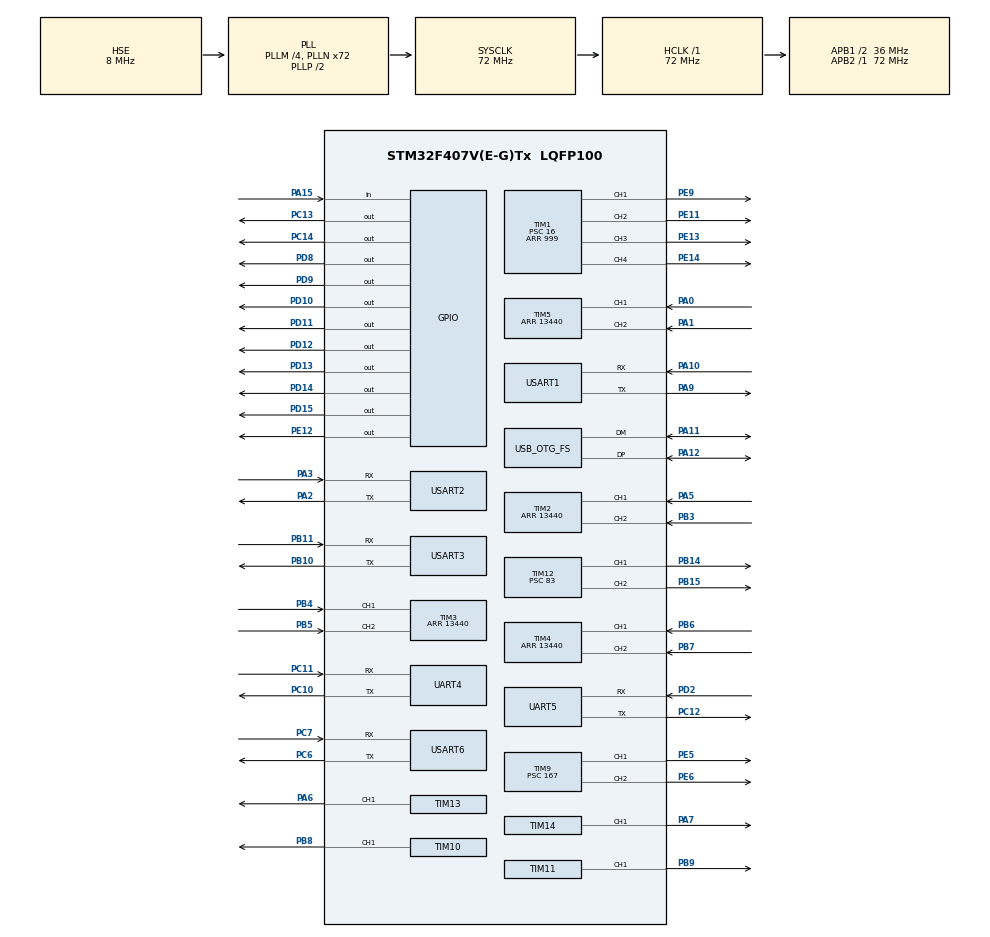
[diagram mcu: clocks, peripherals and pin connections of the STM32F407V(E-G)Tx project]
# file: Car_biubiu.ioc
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Dma.Request0=USART1_RX
Dma.Request1=USART1_TX
Dma.Request10=UART5_TX
Dma.Request2=USART2_RX
Dma.Request3=USART6_RX
Dma.Request4=USART3_RX
Dma.Request5=USART3_TX
Dma.Request6=USART6_TX
Dma.Request7=UART4_RX
Dma.Request8=UART5_RX
Dma.Request9=UART4_TX
Dma.UART4_RX.7.Direction=DMA_PERIPH_TO_MEMORY
Dma.UART4_RX.7.FIFOMode=DMA_FIFOMODE_DISABLE
Dma.UART4_RX.7.Instance=DMA1_Stream2
Dma.UART4_RX.7.MemDataAlignment=DMA_MDATAALIGN_BYTE
Dma.UART4_RX.7.MemInc=DMA_MINC_ENABLE
Dma.UART4_RX.7.Mode=DMA_NORMAL
Dma.UART4_RX.7.PeriphDataAlignment=DMA_PDATAALIGN_BYTE
Dma.UART4_RX.7.PeriphInc=DMA_PINC_DISABLE
Dma.UART4_RX.7.Priority=DMA_PRIORITY_LOW
Dma.UART4_TX.9.Direction=DMA_MEMORY_TO_PERIPH
Dma.UART4_TX.9.FIFOMode=DMA_FIFOMODE_DISABLE
Dma.UART4_TX.9.Instance=DMA1_Stream4
Dma.UART4_TX.9.MemDataAlignment=DMA_MDATAALIGN_BYTE
Dma.UART4_TX.9.MemInc=DMA_MINC_ENABLE
Dma.UART4_TX.9.Mode=DMA_NORMAL
Dma.UART4_TX.9.PeriphDataAlignment=DMA_PDATAALIGN_BYTE
Dma.UART4_TX.9.PeriphInc=DMA_PINC_DISABLE
Dma.UART4_TX.9.Priority=DMA_PRIORITY_LOW
Dma.UART5_RX.8.Direction=DMA_PERIPH_TO_MEMORY
Dma.UART5_RX.8.FIFOMode=DMA_FIFOMODE_DISABLE
Dma.UART5_RX.8.Instance=DMA1_Stream0
Dma.UART5_RX.8.MemDataAlignment=DMA_MDATAALIGN_BYTE
Dma.UART5_RX.8.MemInc=DMA_MINC_ENABLE
Dma.UART5_RX.8.Mode=DMA_NORMAL
Dma.UART5_RX.8.PeriphDataAlignment=DMA_PDATAALIGN_BYTE
Dma.UART5_RX.8.PeriphInc=DMA_PINC_DISABLE
Dma.UART5_RX.8.Priority=DMA_PRIORITY_LOW
Dma.UART5_TX.10.Direction=DMA_MEMORY_TO_PERIPH
Dma.UART5_TX.10.FIFOMode=DMA_FIFOMODE_DISABLE
Dma.UART5_TX.10.Instance=DMA1_Stream7
Dma.UART5_TX.10.MemDataAlignment=DMA_MDATAALIGN_BYTE
Dma.UART5_TX.10.MemInc=DMA_MINC_ENABLE
Dma.UART5_TX.10.Mode=DMA_NORMAL
Dma.UART5_TX.10.PeriphDataAlignment=DMA_PDATAALIGN_BYTE
Dma.UART5_TX.10.PeriphInc=DMA_PINC_DISABLE
Dma.UART5_TX.10.Priority=DMA_PRIORITY_LOW
Dma.USART1_RX.0.Direction=DMA_PERIPH_TO_MEMORY
Dma.USART1_RX.0.FIFOMode=DMA_FIFOMODE_DISABLE
Dma.USART1_RX.0.Instance=DMA2_Stream2
Dma.USART1_RX.0.MemDataAlignment=DMA_MDATAALIGN_BYTE
Dma.USART1_RX.0.MemInc=DMA_MINC_ENABLE
Dma.USART1_RX.0.Mode=DMA_NORMAL
Dma.USART1_RX.0.PeriphDataAlignment=DMA_PDATAALIGN_BYTE
Dma.USART1_RX.0.PeriphInc=DMA_PINC_DISABLE
Dma.USART1_RX.0.Priority=DMA_PRIORITY_MEDIUM
Dma.USART1_TX.1.Direction=DMA_MEMORY_TO_PERIPH
Dma.USART1_TX.1.FIFOMode=DMA_FIFOMODE_DISABLE
Dma.USART1_TX.1.Instance=DMA2_Stream7
Dma.USART1_TX.1.MemDataAlignment=DMA_MDATAALIGN_BYTE
Dma.USART1_TX.1.MemInc=DMA_MINC_ENABLE
Dma.USART1_TX.1.Mode=DMA_NORMAL
Dma.USART1_TX.1.PeriphDataAlignment=DMA_PDATAALIGN_BYTE
Dma.USART1_TX.1.PeriphInc=DMA_PINC_DISABLE
Dma.USART1_TX.1.Priority=DMA_PRIORITY_MEDIUM
Dma.USART2_RX.2.Direction=DMA_PERIPH_TO_MEMORY
Dma.USART2_RX.2.FIFOMode=DMA_FIFOMODE_DISABLE
Dma.USART2_RX.2.Instance=DMA1_Stream5
Dma.USART2_RX.2.MemDataAlignment=DMA_MDATAALIGN_BYTE
Dma.USART2_RX.2.MemInc=DMA_MINC_ENABLE
Dma.USART2_RX.2.Mode=DMA_NORMAL
Dma.USART2_RX.2.PeriphDataAlignment=DMA_PDATAALIGN_BYTE
Dma.USART2_RX.2.PeriphInc=DMA_PINC_DISABLE
Dma.USART2_RX.2.Priority=DMA_PRIORITY_MEDIUM
Dma.USART3_RX.4.Direction=DMA_PERIPH_TO_MEMORY
Dma.USART3_RX.4.FIFOMode=DMA_FIFOMODE_DISABLE
Dma.USART3_RX.4.Instance=DMA1_Stream1
Dma.USART3_RX.4.MemDataAlignment=DMA_MDATAALIGN_BYTE
Dma.USART3_RX.4.MemInc=DMA_MINC_ENABLE
Dma.USART3_RX.4.Mode=DMA_NORMAL
Dma.USART3_RX.4.PeriphDataAlignment=DMA_PDATAALIGN_BYTE
Dma.USART3_RX.4.PeriphInc=DMA_PINC_DISABLE
Dma.USART3_RX.4.Priority=DMA_PRIORITY_LOW
Dma.USART3_TX.5.Direction=DMA_MEMORY_TO_PERIPH
Dma.USART3_TX.5.FIFOMode=DMA_FIFOMODE_DISABLE
Dma.USART3_TX.5.Instance=DMA1_Stream3
Dma.USART3_TX.5.MemDataAlignment=DMA_MDATAALIGN_BYTE
Dma.USART3_TX.5.MemInc=DMA_MINC_ENABLE
Dma.USART3_TX.5.Mode=DMA_NORMAL
Dma.USART3_TX.5.PeriphDataAlignment=DMA_PDATAALIGN_BYTE
Dma.USART3_TX.5.PeriphInc=DMA_PINC_DISABLE
Dma.USART3_TX.5.Priority=DMA_PRIORITY_LOW
Dma.USART6_RX.3.Direction=DMA_PERIPH_TO_MEMORY
Dma.USART6_RX.3.FIFOMode=DMA_FIFOMODE_DISABLE
Dma.USART6_RX.3.Instance=DMA2_Stream1
Dma.USART6_RX.3.MemDataAlignment=DMA_MDATAALIGN_BYTE
Dma.USART6_RX.3.MemInc=DMA_MINC_ENABLE
Dma.USART6_RX.3.Mode=DMA_NORMAL
Dma.USART6_RX.3.PeriphDataAlignment=DMA_PDATAALIGN_BYTE
Dma.USART6_RX.3.PeriphInc=DMA_PINC_DISABLE
Dma.USART6_RX.3.Priority=DMA_PRIORITY_LOW
Dma.USART6_TX.6.Direction=DMA_MEMORY_TO_PERIPH
Dma.USART6_TX.6.FIFOMode=DMA_FIFOMODE_DISABLE
Dma.USART6_TX.6.Instance=DMA2_Stream6
Dma.USART6_TX.6.MemDataAlignment=DMA_MDATAALIGN_BYTE
Dma.USART6_TX.6.MemInc=DMA_MINC_ENABLE
Dma.USART6_TX.6.Mode=DMA_NORMAL
Dma.USART6_TX.6.PeriphDataAlignment=DMA_PDATAALIGN_BYTE
Dma.USART6_TX.6.PeriphInc=DMA_PINC_DISABLE
Dma.USART6_TX.6.Priority=DMA_PRIORITY_LOW
FREERTOS.Tasks01=defaultTask,-3,128,StartDefaultTask,Default,NULL,Dynamic,NULL,NULL;myTask_key,1,128,key_Task,Default,NULL,Dynamic,NULL,NULL;myTask_Display,-3,256,Display_Task,Default,NULL,Dynamic,NULL,NULL;myTask_IMU,0,256,IMU_Task,Default,NULL,Dynamic,NULL,NULL;myTask_debug,-2,512,deubg_Task,Default,NULL,Dynamic,NULL,NULL;myTask_motor,1,256,motor_Task,Default,NULL,Dynamic,NULL,NULL;myTask_usart,0,512,usart_Task,Default,NULL,Dynamic,NULL,NULL;myTask_servo,1,256,servo_Task,Default,NULL,Dynamic,NULL,NULL;myTask_speed,2,256,speed_Task,Default,NULL,Dynamic,NULL,NULL;myTask_pid,2,512,pid_Task,Default,NULL,Dynamic,NULL,NULL;myTask_doing,2,512,doing_Task,Default,NULL,Dynamic,NULL,NULL
FREERTOS.configTOTAL_HEAP_SIZE=65535
Mcu.Family=STM32F4
Mcu.Name=STM32F407V(E-G)Tx
Mcu.Package=LQFP100
NVIC.DMA1_Stream0_IRQn=true\:5\:0\:false\:false\:true\:true\:false\:true\:true
NVIC.DMA1_Stream1_IRQn=true\:5\:0\:false\:false\:true\:true\:false\:true\:true
NVIC.DMA1_Stream2_IRQn=true\:5\:0\:false\:false\:true\:true\:false\:true\:true
NVIC.DMA1_Stream3_IRQn=true\:5\:0\:false\:false\:true\:true\:false\:true\:true
NVIC.DMA1_Stream4_IRQn=true\:5\:0\:false\:false\:true\:true\:false\:true\:true
NVIC.DMA1_Stream5_IRQn=true\:5\:0\:true\:false\:true\:true\:false\:true\:true
NVIC.DMA1_Stream7_IRQn=true\:5\:0\:false\:false\:true\:true\:false\:true\:true
NVIC.DMA2_Stream1_IRQn=true\:5\:0\:false\:false\:true\:true\:false\:true\:true
NVIC.DMA2_Stream2_IRQn=true\:5\:0\:false\:false\:true\:true\:false\:true\:true
NVIC.DMA2_Stream6_IRQn=true\:5\:0\:false\:false\:true\:true\:false\:true\:true
NVIC.DMA2_Stream7_IRQn=true\:5\:0\:false\:false\:true\:true\:false\:true\:true
NVIC.OTG_FS_IRQn=true\:5\:0\:false\:false\:true\:true\:true\:true\:true
NVIC.PriorityGroup=NVIC_PRIORITYGROUP_4
NVIC.TIM2_IRQn=true\:5\:0\:false\:false\:true\:true\:true\:true\:true
NVIC.TIM3_IRQn=true\:5\:0\:false\:false\:true\:true\:true\:true\:true
NVIC.TIM4_IRQn=true\:5\:0\:false\:false\:true\:true\:true\:true\:true
NVIC.TIM5_IRQn=true\:5\:0\:false\:false\:true\:true\:true\:true\:true
NVIC.TIM6_DAC_IRQn=true\:5\:0\:false\:false\:true\:true\:true\:true\:true
NVIC.TIM7_IRQn=true\:0\:0\:false\:false\:true\:false\:false\:true\:true
NVIC.TimeBase=TIM7_IRQn
NVIC.TimeBaseIP=TIM7
NVIC.UART4_IRQn=true\:5\:0\:false\:false\:true\:true\:true\:true\:true
NVIC.UART5_IRQn=true\:5\:0\:false\:false\:true\:true\:true\:true\:true
NVIC.USART1_IRQn=true\:5\:0\:true\:false\:true\:true\:true\:true\:true
NVIC.USART2_IRQn=true\:5\:0\:true\:false\:true\:true\:true\:true\:true
NVIC.USART3_IRQn=true\:5\:0\:false\:false\:true\:true\:true\:true\:true
NVIC.USART6_IRQn=true\:5\:0\:false\:false\:true\:true\:true\:true\:true
PA0-WKUP.Signal=S_TIM5_CH1
PA1.Signal=S_TIM5_CH2
PA10.Mode=Asynchronous
PA10.Signal=USART1_RX
PA11.Mode=Device_Only
PA11.Signal=USB_OTG_FS_DM
PA12.Mode=Device_Only
PA12.Signal=USB_OTG_FS_DP
PA13.Mode=Serial_Wire
PA13.Signal=SYS_JTMS-SWDIO
PA14.Mode=Serial_Wire
PA14.Signal=SYS_JTCK-SWCLK
PA15.GPIO_PuPd=GPIO_PULLUP
PA15.Signal=GPIO_Input
PA2.Mode=Asynchronous
PA2.Signal=USART2_TX
PA3.Mode=Asynchronous
PA3.Signal=USART2_RX
PA5.Signal=S_TIM2_CH1_ETR
PA6.Signal=S_TIM13_CH1
PA7.Signal=S_TIM14_CH1
PA9.Mode=Asynchronous
PA9.Signal=USART1_TX
PB10.Mode=Asynchronous
PB10.Signal=USART3_TX
PB11.Mode=Asynchronous
PB11.Signal=USART3_RX
PB14.Signal=S_TIM12_CH1
PB15.Signal=S_TIM12_CH2
PB3.Signal=S_TIM2_CH2
PB4.Signal=S_TIM3_CH1
PB5.Signal=S_TIM3_CH2
PB6.Signal=S_TIM4_CH1
PB7.Signal=S_TIM4_CH2
PB8.Signal=S_TIM10_CH1
PB9.Signal=S_TIM11_CH1
PC10.Mode=Asynchronous
PC10.Signal=UART4_TX
PC11.Mode=Asynchronous
PC11.Signal=UART4_RX
PC12.Mode=Asynchronous
PC12.Signal=UART5_TX
PC13-ANTI_TAMP.GPIO_Speed=GPIO_SPEED_FREQ_LOW
PC13-ANTI_TAMP.Signal=GPIO_Output
PC14-OSC32_IN.Signal=GPIO_Output
PC6.Mode=Asynchronous
PC6.Signal=USART6_TX
PC7.Mode=Asynchronous
PC7.Signal=USART6_RX
PD10.Signal=GPIO_Output
PD11.Signal=GPIO_Output
PD12.Signal=GPIO_Output
PD13.Signal=GPIO_Output
PD14.Signal=GPIO_Output
PD15.Signal=GPIO_Output
PD2.Mode=Asynchronous
PD2.Signal=UART5_RX
PD8.Signal=GPIO_Output
PD9.Signal=GPIO_Output
PE11.Signal=S_TIM1_CH2
PE12.Signal=GPIO_Output
PE13.Signal=S_TIM1_CH3
PE14.Signal=S_TIM1_CH4
PE5.Signal=S_TIM9_CH1
PE6.Signal=S_TIM9_CH2
PE9.Signal=S_TIM1_CH1
PH0-OSC_IN.Mode=HSE-External-Oscillator
PH0-OSC_IN.Signal=RCC_OSC_IN
PH1-OSC_OUT.Mode=HSE-External-Oscillator
PH1-OSC_OUT.Signal=RCC_OSC_OUT
ProjectManager.HeapSize=0x8000
ProjectManager.StackSize=0x1000
ProjectManager.TargetToolchain=MDK-ARM V5.27
RCC.48MHZClocksFreq_Value=48000000
RCC.AHBFreq_Value=72000000
RCC.APB1CLKDivider=RCC_HCLK_DIV2
RCC.APB1Freq_Value=36000000
RCC.APB1TimFreq_Value=72000000
RCC.APB2Freq_Value=72000000
RCC.APB2TimFreq_Value=72000000
RCC.CortexFreq_Value=72000000
RCC.HCLKFreq_Value=72000000
RCC.HSE_VALUE=8000000
RCC.HSI_VALUE=16000000
RCC.LSE_VALUE=32768
RCC.PLLM=4
RCC.PLLN=72
RCC.PLLQ=3
RCC.SYSCLKFreq_VALUE=72000000
RCC.SYSCLKSource=RCC_SYSCLKSOURCE_PLLCLK
RCC.VCOOutputFreq_Value=144000000
SH.S_TIM10_CH1.0=TIM10_CH1,PWM Generation1 CH1
SH.S_TIM11_CH1.0=TIM11_CH1,PWM Generation1 CH1
SH.S_TIM12_CH1.0=TIM12_CH1,PWM Generation1 CH1
SH.S_TIM12_CH2.0=TIM12_CH2,PWM Generation2 CH2
SH.S_TIM13_CH1.0=TIM13_CH1,PWM Generation1 CH1
SH.S_TIM14_CH1.0=TIM14_CH1,PWM Generation1 CH1
SH.S_TIM1_CH1.0=TIM1_CH1,PWM Generation1 CH1
SH.S_TIM1_CH2.0=TIM1_CH2,PWM Generation2 CH2
SH.S_TIM1_CH3.0=TIM1_CH3,PWM Generation3 CH3
SH.S_TIM1_CH4.0=TIM1_CH4,PWM Generation4 CH4
SH.S_TIM2_CH1_ETR.0=TIM2_CH1,Encoder_Interface
SH.S_TIM2_CH2.0=TIM2_CH2,Encoder_Interface
SH.S_TIM3_CH1.0=TIM3_CH1,Encoder_Interface
SH.S_TIM3_CH2.0=TIM3_CH2,Encoder_Interface
SH.S_TIM4_CH1.0=TIM4_CH1,Encoder_Interface
SH.S_TIM4_CH2.0=TIM4_CH2,Encoder_Interface
SH.S_TIM5_CH1.0=TIM5_CH1,Encoder_Interface
SH.S_TIM5_CH2.0=TIM5_CH2,Encoder_Interface
SH.S_TIM9_CH1.0=TIM9_CH1,PWM Generation1 CH1
SH.S_TIM9_CH2.0=TIM9_CH2,PWM Generation2 CH2
TIM1.Channel-PWM\ Generation1\ CH1=TIM_CHANNEL_1
TIM1.Channel-PWM\ Generation2\ CH2=TIM_CHANNEL_2
TIM1.Channel-PWM\ Generation3\ CH3=TIM_CHANNEL_3
TIM1.Channel-PWM\ Generation4\ CH4=TIM_CHANNEL_4
TIM1.Period=999
TIM1.Prescaler=16
TIM10.Channel=TIM_CHANNEL_1
TIM10.Period=19999
TIM10.Prescaler=167
TIM11.Channel=TIM_CHANNEL_1
TIM11.Period=19999
TIM11.Prescaler=167
TIM12.Channel-PWM\ Generation1\ CH1=TIM_CHANNEL_1
TIM12.Channel-PWM\ Generation2\ CH2=TIM_CHANNEL_2
TIM12.Period=19999
TIM12.Prescaler=83
TIM13.Channel=TIM_CHANNEL_1
TIM13.Period=999
TIM13.Prescaler=1679
TIM14.Channel=TIM_CHANNEL_1
TIM14.Period=999
TIM14.Prescaler=1679
TIM2.EncoderMode=TIM_ENCODERMODE_TI12
TIM2.Period=13440
TIM3.EncoderMode=TIM_ENCODERMODE_TI12
TIM3.Period=13440
TIM4.EncoderMode=TIM_ENCODERMODE_TI12
TIM4.Period=13440
TIM5.EncoderMode=TIM_ENCODERMODE_TI12
TIM5.Period=13440
TIM6.Period=9999
TIM6.Prescaler=83
TIM9.Channel-PWM\ Generation1\ CH1=TIM_CHANNEL_1
TIM9.Channel-PWM\ Generation2\ CH2=TIM_CHANNEL_2
TIM9.Period=19999
TIM9.Prescaler=167
UART4.VirtualMode=Asynchronous
UART5.VirtualMode=Asynchronous
USART1.VirtualMode=VM_ASYNC
USART2.VirtualMode=VM_ASYNC
USART3.VirtualMode=VM_ASYNC
USART6.VirtualMode=VM_ASYNC
USB_DEVICE.CLASS_NAME_FS=CDC
USB_DEVICE.VirtualMode-CDC_FS=Cdc
USB_DEVICE.VirtualModeFS=Cdc_FS
USB_OTG_FS.VirtualMode=Device_Only
VP_FREERTOS_VS_CMSIS_V1.Mode=CMSIS_V1
VP_SYS_VS_tim7.Mode=TIM7
VP_TIM10_VS_ClockSourceINT.Mode=Enable_Timer
VP_TIM11_VS_ClockSourceINT.Mode=Enable_Timer
VP_TIM13_VS_ClockSourceINT.Mode=Enable_Timer
VP_TIM14_VS_ClockSourceINT.Mode=Enable_Timer
VP_TIM6_VS_ClockSourceINT.Mode=Enable_Timer
VP_USB_DEVICE_VS_USB_DEVICE_CDC_FS.Mode=CDC_FS
board=custom

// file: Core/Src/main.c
/* USER CODE BEGIN Header */
/**
  ******************************************************************************
  * @file           : main.c
  * @brief          : Main program body
  ******************************************************************************
  * @attention

  ******************************************************************************
  */
/* USER CODE END Header */
#include "main.h"
#include "cmsis_os.h"
#include "dma.h"
#include "tim.h"
#include "usart.h"
#include "usb_device.h"
#include "gpio.h"

/* USER CODE BEGIN Includes */
#include "JY61.h"
#include "motor_ctrl.h"
#include "servo.h"
/* USER CODE END Includes */

void SystemClock_Config(void);
void MX_FREERTOS_Init(void);

int main(void)
{

  /* MCU Configuration--------------------------------------------------------*/

  /* Reset of all peripherals, Initializes the Flash interface and the Systick. */
  HAL_Init();

  /* Configure the system clock */
  SystemClock_Config();

  /* Initialize all configured peripherals */
  MX_GPIO_Init();
  MX_DMA_Init();
  MX_USART1_UART_Init();
  MX_USART2_UART_Init();
  MX_TIM1_Init();
  MX_TIM2_Init();
  MX_TIM3_Init();
  MX_TIM4_Init();
  MX_TIM5_Init();
  MX_TIM6_Init();
  MX_TIM9_Init();
  MX_TIM10_Init();
  MX_TIM11_Init();
  MX_TIM12_Init();
  MX_TIM13_Init();
  MX_TIM14_Init();
  MX_UART4_Init();
  MX_UART5_Init();
  MX_USART3_UART_Init();
  MX_USART6_UART_Init();
  /* USER CODE BEGIN 2 */
  motor_tim_config(); // 电机PWM初始化、编码器定时器初始化

  servo_config(); // 舵机PWM初始化
  // 电机速度控制为0
    speed_ctrl(Motor1, 0);
    speed_ctrl(Motor2, 0);
    speed_ctrl(Motor3, 0);
    speed_ctrl(Motor4, 0);

  printf("BSP初始化OK\n");
  // MPU6050初始化。
  WitInit(WIT_PROTOCOL_NORMAL, 0x50);
  WitSerialWriteRegister(SensorUartSend);
  WitRegisterCallBack(SensorDataUpdata);
  WitDelayMsRegister(Delayms);
  uint8_t i=0;

  HAL_Delay(1000);

  HAL_TIM_Base_Start_IT(&htim6); // 基础定时器初始化

  /* USER CODE END 2 */

  /* Call init function for freertos objects (in freertos.c) */
  MX_FREERTOS_Init();

  /* Start scheduler */
  osKernelStart();

  /* We should never get here as control is now taken by the scheduler */
  /* Infinite loop */
  while (1)
  {

  }
}

void SystemClock_Config(void)
{
  RCC_OscInitTypeDef RCC_OscInitStruct = {0};
  RCC_ClkInitTypeDef RCC_ClkInitStruct = {0};

  /** Configure the main internal regulator output voltage
  */
  __HAL_RCC_PWR_CLK_ENABLE();
  __HAL_PWR_VOLTAGESCALING_CONFIG(PWR_REGULATOR_VOLTAGE_SCALE1);

  /** Initializes the RCC Oscillators according to the specified parameters
  * in the RCC_OscInitTypeDef structure.
  */
  RCC_OscInitStruct.OscillatorType = RCC_OSCILLATORTYPE_HSE;
  RCC_OscInitStruct.HSEState = RCC_HSE_ON;
  RCC_OscInitStruct.PLL.PLLState = RCC_PLL_ON;
  RCC_OscInitStruct.PLL.PLLSource = RCC_PLLSOURCE_HSE;
  RCC_OscInitStruct.PLL.PLLM = 4;
  RCC_OscInitStruct.PLL.PLLN = 72;
  RCC_OscInitStruct.PLL.PLLP = RCC_PLLP_DIV2;
  RCC_OscInitStruct.PLL.PLLQ = 3;
  if (HAL_RCC_OscConfig(&RCC_OscInitStruct) != HAL_OK)
  {
    Error_Handler();
  }

  /** Initializes the CPU, AHB and APB buses clocks
  */
  RCC_ClkInitStruct.ClockType = RCC_CLOCKTYPE_HCLK|RCC_CLOCKTYPE_SYSCLK
                              |RCC_CLOCKTYPE_PCLK1|RCC_CLOCKTYPE_PCLK2;
  RCC_ClkInitStruct.SYSCLKSource = RCC_SYSCLKSOURCE_PLLCLK;
  RCC_ClkInitStruct.AHBCLKDivider = RCC_SYSCLK_DIV1;
  RCC_ClkInitStruct.APB1CLKDivider = RCC_HCLK_DIV2;
  RCC_ClkInitStruct.APB2CLKDivider = RCC_HCLK_DIV1;

  if (HAL_RCC_ClockConfig(&RCC_ClkInitStruct, FLASH_LATENCY_2) != HAL_OK)
  {
    Error_Handler();
  }
}

void HAL_TIM_PeriodElapsedCallback(TIM_HandleTypeDef *htim)
{
  if (htim->Instance == TIM7) {
    HAL_IncTick();
  }
  /* USER CODE BEGIN Callback 1 */
  if (htim->Instance == TIM6)
  {

//    speed_get();

  }
  /* USER CODE END Callback 1 */
}

void Error_Handler(void)
{
  __disable_irq();
  while (1)
  {
  }
}

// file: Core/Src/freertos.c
/* USER CODE BEGIN Header */
/**
 ******************************************************************************
 * File Name          : freertos.c
 * Description        : Code for freertos applications
 ******************************************************************************
 * @attention
 *
 * <h2><center>&copy; Copyright (c) 2023 STMicroelectronics.
 * All rights reserved.</center></h2>
 *
 * This software component is licensed by ST under Ultimate Liberty license
 * SLA0044, the "License"; You may not use this file except in compliance with
 * the License. You may obtain a copy of the License at:
 *                             www.st.com/SLA0044
 *
 ******************************************************************************
 */
/* USER CODE END Header */

#include "FreeRTOS.h"
#include "task.h"
#include "main.h"
#include "cmsis_os.h"

/* USER CODE BEGIN Includes */
#include "soft_user.h"
#include "string.h"
#include "JY61.h"
#include "servo.h"
#include "dma.h"
#include "tim.h"
#include "usart.h"
#include "gpio.h"
#include "motor_ctrl.h"
#include "pid.h"
#include "HI229.h"

#include "usbd_cdc_if.h"
#include "usb_user.h"
/* USER CODE END Includes */

/* USER CODE BEGIN PD */
#define Led_Toggle GPIOC->ODR ^= GPIO_PIN_13 // LED_Toggle函数宏定义
#define IMU_speed 80                         // IMU数据采集处理频率控制参数
#define JY61

/* USER CODE END PD */

/* USER CODE BEGIN PM */

extern char s_cDataUpdate, s_cCmd; // MPU6050移植参数，不用管

extern servo_status servo_motion[];

uint8_t OS_status = 0;             // 任务初始化标志位，为1则初始化OK，为0则还没有嘞

uint8_t debug_date[600] = {0};     // debug数据缓存区，用于缓存需要用来上传的debug数据。

uint8_t IMU_date[IMU_speed] = {0}; // MPU6050数据缓冲区、采用DMA+串口方式接收

uint8_t usart_3_date[25] = {0};
uint8_t usart_6_date[25] = {0};

raw_t raw = {0};             /* IMU stram read/control struct */
uint8_t decode_succ;         /* 0: no new frame arrived, 1: new frame arrived */

/* USER CODE END PM */

/* USER CODE BEGIN Variables */
SemaphoreHandle_t IMUdate_RX_Sem_Handle = NULL; // 信号量初始化，用于作为IMU数据接收完成后的回响，开启IMU_TASK函数的执行。

SemaphoreHandle_t usart3_RX_Sem_Handle = NULL;

SemaphoreHandle_t usart6_RX_Sem_Handle = NULL;

SemaphoreHandle_t Servo_Sem_Handle = NULL;

QueueHandle_t   Speed_Queue =NULL;
QueueHandle_t   goal_Queue =NULL;
QueueHandle_t   IMU_Queue =NULL;
QueueHandle_t   debug_Queue =NULL;
QueueHandle_t   angle_Queue =NULL;
QueueHandle_t   servo_Queue =NULL;
QueueHandle_t   distance_Queue =NULL;
QueueHandle_t   color_Queue =NULL;
QueueHandle_t   black_line_Queue =NULL;
/* USER CODE END Variables */
osThreadId defaultTaskHandle;
osThreadId myTask_keyHandle;
osThreadId myTask_DisplayHandle;
osThreadId myTask_IMUHandle;
osThreadId myTask_debugHandle;
osThreadId myTask_motorHandle;
osThreadId myTask_usartHandle;
osThreadId myTask_servoHandle;
osThreadId myTask_speedHandle;
osThreadId myTask_pidHandle;
osThreadId myTask_doingHandle;

void StartDefaultTask(void const * argument);
void key_Task(void const * argument);
void Display_Task(void const * argument);
void IMU_Task(void const * argument);
void deubg_Task(void const * argument);
void motor_Task(void const * argument);
void usart_Task(void const * argument);
void servo_Task(void const * argument);
void speed_Task(void const * argument);
void pid_Task(void const * argument);
void doing_Task(void const * argument);

extern void MX_USB_DEVICE_Init(void);
void MX_FREERTOS_Init(void); /* (MISRA C 2004 rule 8.1) */

/* GetIdleTaskMemory prototype (linked to static allocation support) */
void vApplicationGetIdleTaskMemory( StaticTask_t **ppxIdleTaskTCBBuffer, StackType_t **ppxIdleTaskStackBuffer, uint32_t *pulIdleTaskStackSize );

/* USER CODE BEGIN GET_IDLE_TASK_MEMORY */
static StaticTask_t xIdleTaskTCBBuffer;
static StackType_t xIdleStack[configMINIMAL_STACK_SIZE];

void vApplicationGetIdleTaskMemory(StaticTask_t **ppxIdleTaskTCBBuffer, StackType_t **ppxIdleTaskStackBuffer, uint32_t *pulIdleTaskStackSize)
{
  *ppxIdleTaskTCBBuffer = &xIdleTaskTCBBuffer;
  *ppxIdleTaskStackBuffer = &xIdleStack[0];
  *pulIdleTaskStackSize = configMINIMAL_STACK_SIZE;
  /* place for user code */
}
/* USER CODE END GET_IDLE_TASK_MEMORY */

void MX_FREERTOS_Init(void) {

  /* USER CODE BEGIN RTOS_SEMAPHORES */
  /* add semaphores, ... */
  // IMUdate_RX_Sem_Handle二值信号量创建
  IMUdate_RX_Sem_Handle = xSemaphoreCreateBinary();

  usart3_RX_Sem_Handle= xSemaphoreCreateBinary();

  usart6_RX_Sem_Handle= xSemaphoreCreateBinary();

  Servo_Sem_Handle       = xSemaphoreCreateBinary();
  /* USER CODE END RTOS_SEMAPHORES */

  /* USER CODE BEGIN RTOS_QUEUES */
  /* add queues, ... */
  Speed_Queue = xQueueCreate((UBaseType_t ) 1,/* 消息队列的长度 *///实时速度参数传递消息队列
                            (UBaseType_t ) sizeof(biu));/* 消息的大小 */
  goal_Queue  = xQueueCreate((UBaseType_t ) 2,/* 消息队列的长度 *///目标速度传递消息队列
                            (UBaseType_t ) sizeof(biu));/* 消息的大小 */
  IMU_Queue   = xQueueCreate((UBaseType_t ) 1,/* 消息队列的长度 */
                            (UBaseType_t ) sizeof(imu));/* 消息的大小 */
  debug_Queue = xQueueCreate((UBaseType_t ) 1,/* 消息队列的长度 */
                            (UBaseType_t ) sizeof(biu));/* 消息的大小 */
  angle_Queue = xQueueCreate((UBaseType_t ) 1,/* 消息队列的长度 */
                            (UBaseType_t ) sizeof(imu));/* 消息的大小 */
  servo_Queue = xQueueCreate((UBaseType_t ) 1,/* 消息队列的长度 */
                            (UBaseType_t ) sizeof(servo_status));/* 消息的大小 */
  distance_Queue = xQueueCreate((UBaseType_t ) 1,/* 消息队列的长度 */
                            (UBaseType_t ) sizeof(biu));/* 消息的大小 */
  color_Queue    = xQueueCreate((UBaseType_t ) 1,/* 消息队列的长度 */
                            (UBaseType_t ) sizeof(biu_int_16));/* 消息的大小 */
  black_line_Queue=xQueueCreate((UBaseType_t ) 1,/* 消息队列的长度 */
                            (UBaseType_t ) sizeof(biu_int_16));/* 消息的大小 */
  /* USER CODE END RTOS_QUEUES */

  /* Create the thread(s) */
  /* definition and creation of defaultTask */
  osThreadDef(defaultTask, StartDefaultTask, osPriorityIdle, 0, 128);
  defaultTaskHandle = osThreadCreate(osThread(defaultTask), NULL);

  /* definition and creation of myTask_key */
  osThreadDef(myTask_key, key_Task, osPriorityAboveNormal, 0, 128);
  myTask_keyHandle = osThreadCreate(osThread(myTask_key), NULL);

  /* definition and creation of myTask_Display */
  osThreadDef(myTask_Display, Display_Task, osPriorityIdle, 0, 256);
  myTask_DisplayHandle = osThreadCreate(osThread(myTask_Display), NULL);

  /* definition and creation of myTask_IMU */
  osThreadDef(myTask_IMU, IMU_Task, osPriorityNormal, 0, 256);
  myTask_IMUHandle = osThreadCreate(osThread(myTask_IMU), NULL);

  /* definition and creation of myTask_debug */
  osThreadDef(myTask_debug, deubg_Task, osPriorityLow, 0, 512);
  myTask_debugHandle = osThreadCreate(osThread(myTask_debug), NULL);

  /* definition and creation of myTask_motor */
  osThreadDef(myTask_motor, motor_Task, osPriorityAboveNormal, 0, 256);
  myTask_motorHandle = osThreadCreate(osThread(myTask_motor), NULL);

  /* definition and creation of myTask_usart */
  osThreadDef(myTask_usart, usart_Task, osPriorityNormal, 0, 512);
  myTask_usartHandle = osThreadCreate(osThread(myTask_usart), NULL);

  /* definition and creation of myTask_servo */
  osThreadDef(myTask_servo, servo_Task, osPriorityAboveNormal, 0, 256);
  myTask_servoHandle = osThreadCreate(osThread(myTask_servo), NULL);

  /* definition and creation of myTask_speed */
  osThreadDef(myTask_speed, speed_Task, osPriorityHigh, 0, 256);
  myTask_speedHandle = osThreadCreate(osThread(myTask_speed), NULL);

  /* definition and creation of myTask_pid */
  osThreadDef(myTask_pid, pid_Task, osPriorityHigh, 0, 512);
  myTask_pidHandle = osThreadCreate(osThread(myTask_pid), NULL);

  /* definition and creation of myTask_doing */
  osThreadDef(myTask_doing, doing_Task, osPriorityHigh, 0, 512);
  myTask_doingHandle = osThreadCreate(osThread(myTask_doing), NULL);

}

/* USER CODE BEGIN Header_StartDefaultTask */
/**
 * @brief  优先级最低的任务，点个灯在里面，可以通过观察led闪烁情况观察任务运行情况，
 *          如果不稳定，则任务优先级、缓存分配存在问题
 * @param  argument: Not used
 * @retval None
 */
/* USER CODE END Header_StartDefaultTask */
void StartDefaultTask(void const * argument)
{
  /* init code for USB_DEVICE */
  MX_USB_DEVICE_Init();
  /* USER CODE BEGIN StartDefaultTask */
  /* Infinite loop */

  for (;;)
  {
    Led_Toggle;

    osDelay(100);
  }
  /* USER CODE END StartDefaultTask */
}

/* USER CODE BEGIN Header_key_Task */
/**
 * @brief 按键任务，用于检测按键触发，没有使用中断方式，不稳定而且占用资源，这里使用轮询方式依然很nice
 * @param argument: Not used
 * @retval None
 */
/* USER CODE END Header_key_Task */
void key_Task(void const * argument)
{
  /* USER CODE BEGIN key_Task */
  /* Infinite loop */

  for (;;)
  {
    if ((GPIOA->IDR & (1 << 15)) == 0)
    {
      osDelay(10);
      if ((GPIOA->IDR & (1 << 15)) == 0)
      {
        while((GPIOA->IDR & (1 << 15)) == 0)
        {
            osDelay(1);
        }
        /*do something*/
        HAL_UART_Transmit_DMA(&huart1, usart_3_date, 22);

      }
    }
    if ((GPIOE->IDR & (1 << 1)) == 0)
    {
      osDelay(10);
      if ((GPIOE->IDR & (1 << 1)) == 0)
      {
        while((GPIOE->IDR & (1 << 1)) == 0)
        {
            osDelay(1);
        }
        /*do something*/
//        vTaskSuspend(myTask_doingHandle);
        servo_all_move(servo_motion[0]);

      }
    }
    osDelay(1);
  }
  /* USER CODE END key_Task */
}

void Display_Task(void const * argument)
{
  /* USER CODE BEGIN Display_Task */
  /* Infinite loop */
    uint8_t RX_Buffer[20];
  for(;;)
  {
      if(usb_vbc_Receive(RX_Buffer,16,HAL_MAX_DELAY))
      {
          CDC_Transmit_FS(RX_Buffer,16);
      }
    osDelay(1);
  }
  /* USER CODE END Display_Task */
}

/* USER CODE BEGIN Header_IMU_Task */
/**
 * @brief IMU数据处理任务、优先级较高，但收到二值信息量控制，当二值信息量被释放后，此任务才可以执行，
 * 信息量释放速度受宏定义IMU_speed控制。
 * @param argument: Not used
 * @retval None
 */
/* USER CODE END Header_IMU_Task */
void IMU_Task(void const * argument)
{
  /* USER CODE BEGIN IMU_Task */
  /* Infinite loop */
  int i;
  imu imu_car;
  OS_status = 1;
  HAL_UART_Receive_DMA(&huart2, IMU_date, IMU_speed);
  for (;;)
  {
    // 获取二值信号量 xSemaphore,没获取到则一直等待
    xSemaphoreTake(IMUdate_RX_Sem_Handle, portMAX_DELAY); /* 等待时间 */
    taskENTER_CRITICAL();
#ifdef JY61
    for (i = 0; i < IMU_speed; i++)
    {
      WitSerialDataIn(IMU_date[i]);
    }
    if (s_cDataUpdate)
    {
      for (i = 0; i < 3; i++)
      {
        imu_car.IMU[i] = sReg[Roll + i] / 32768.0f * 180.0f;
      }
    }
#else
    for (i = 0; i < IMU_speed; i++)
    {
      decode_succ = ch_serial_input(&raw, IMU_date[i]);
        if(decode_succ==1)
            break;
    }

    if (decode_succ)
    {
      for (i = 0; i < 3; i++)
      {
        imu_car.IMU[i] = raw.imu[0].eul[i];
      }
    }
#endif
    HAL_UART_Receive_DMA(&huart2, IMU_date, IMU_speed);
    taskEXIT_CRITICAL();
    xQueueSend( IMU_Queue,&imu_car,0 );
    xQueueSend( angle_Queue,&imu_car,0 );
  }
  /* USER CODE END IMU_Task */
}

/* USER CODE BEGIN Header_deubg_Task */
/**
 * @brief 小车状态上传任务，使用串口一DMA发送，运行周期1000ms
 * @param argument: Not used
 * @retval None
 */
/* USER CODE END Header_deubg_Task */
void deubg_Task(void const * argument)
{
  /* USER CODE BEGIN deubg_Task */
  /* Infinite loop */
    imu imu_car;
    biu speed_now;
    biu speed_goal;
  for (;;)
  {

    xQueueReceive(IMU_Queue,&imu_car,10);
    xQueueReceive(debug_Queue,&speed_goal,10);
    xQueuePeek(Speed_Queue,&speed_now,10);

    taskENTER_CRITICAL();

//    HAL_UART_Transmit_DMA(&huart1, debug_date, strlen((char *)debug_date));
    taskEXIT_CRITICAL();

    osDelay(70);
  }
  /* USER CODE END deubg_Task */
}

void motor_Task(void const * argument)
{
  /* USER CODE BEGIN motor_Task */
  /* Infinite loop */
  for (;;)
  {
      vTaskSuspend(NULL);
      osDelay(5000);
  }
  /* USER CODE END motor_Task */
}

void usart_Task(void const * argument)
{
  /* USER CODE BEGIN usart_Task */
  /* Infinite loop */

    taskENTER_CRITICAL();

        int i=0,num,sign=0;
        int16_t x=0;
        int16_t y=0;
        int16_t wide=0;
        int16_t height=0;
        char* f=(char*)&x;
        char *h=(char*)&y;
        char* u=(char*)&wide;
        char *q=(char*)&height;
        biu_int_16 color_date;
        biu_int_16 black_line_date;
        HAL_UART_Receive_DMA(&huart3, usart_3_date, 22);
        HAL_UART_Receive_DMA(&huart6, usart_6_date, 22);

    taskEXIT_CRITICAL();

  for (;;)
  {
      //V831一号
      if(xSemaphoreTake(usart3_RX_Sem_Handle, 10)==pdTRUE) /* 等待时间 */
      {
          vTaskSuspendAll();
          for(i=0;i<8;i++)
          {
              if(usart_3_date[i]==0X2C&&usart_3_date[i+10]==0X5B)
              {
                  num=i;
                  if(usart_3_date[num+1]==0X12)
                    sign=1;
                  else if(usart_3_date[num+1]==0X21)
                    sign=2;
                  else
                    sign=0;
                  break;
              }
              sign=0;
          }
//          HAL_UART_Transmit_DMA(&huart1, usart_3_date,22);
          if(sign==1)
          {

              for(i=0;i<2;i++)
              {
                  *(f+i)=*(usart_3_date+num+i+2);
              }
    //          i=*(f);*(f)=*(f+1);*(f+1)=i;

              for(i=0;i<2;i++)
              {
                  *(h+i)=*(usart_3_date+num+i+4);
              }
              for(i=0;i<2;i++)
              {
                  *(u+i)=*(usart_3_date+num+i+6);
              }
              for(i=0;i<2;i++)
              {
                  *(q+i)=*(usart_3_date+num+i+8);
              }
    //          i=*(h);*(h)=*(h+1);*(h+1)=i;
              if((x!=520&&y!=520)&&(y!=9))
              {
                  color_date.date[0]=x;
                  color_date.date[1]=y;
                  color_date.date[2]=11;
                  color_date.date[3]=height;
                  xQueueSend(color_Queue,&color_date,0);
              }
              else
              {
                  //error

              }
          }
          else if(sign==2)
          {
              usart_3_date[num+6]=usart_3_date[num+7];
              usart_3_date[num+7]=usart_3_date[num+8];
              usart_3_date[num+8]=usart_3_date[num+9];
              x=0;
              for(i=0;i<6;i++)
              {
                  if(usart_3_date[num+3+i]=='1')
                      x|=0X01<<(5-i)*2;
                  else if(usart_3_date[num+3+i]=='2')
                      x|=0X02<<(5-i)*2;
                  else if(usart_3_date[num+3+i]=='3')
                      x|=0X03<<(5-i)*2;
                  else
                  {
                    x=0;
                    break;
                  }
              }
              if(x!=0)
              {
                  if( (x&3<<0) != ( (x&3<<2)>>2 ) &&(x&3<<0) != ( (x&3<<4)>>4 )&&(x&3<<2)>>2 != ( (x&3<<4)>>4 ))
                  {

                      color_date.date[3]=x;
                      color_date.date[2]=22;
                      xQueueSend(color_Queue,&color_date,0);
                  }
                  else
                  {
                      //error
                  }
              }

          }

        HAL_UART_Receive_DMA(&huart3, usart_3_date, 22);
        xTaskResumeAll();
    }

    //V831二号
    if(xSemaphoreTake(usart6_RX_Sem_Handle, 10)==pdTRUE) /* 等待时间 */
    {
        vTaskSuspendAll();
          for(i=0;i<8;i++)
          {
              if(usart_6_date[i]==0X2C&&usart_6_date[i+10]==0X5B)
              {
                  num=i;
                  if(usart_6_date[num+1]==0X12)
                    sign=1;
                  else if(usart_6_date[num+1]==0X21)
                    sign=2;
                  else
                    sign=0;
                  break;
              }
              sign=0;
          }
          xTaskResumeAll();
//          HAL_UART_Transmit_DMA(&huart1, usart_6_date,22);
          if(sign==1)
          {

              for(i=0;i<2;i++)
              {
                  *(f+i)=*(usart_6_date+num+i+2);
              }

              for(i=0;i<2;i++)
              {
                  *(h+i)=*(usart_6_date+num+i+4);
              }

              if( *(f)==(char)0XFF && *(f+1)==(char)0XFF && *(h)==(char)0XFF && *(h+1)==(char)0XFF )
              {
                  black_line_date.date[0]=0XFF;
                  black_line_date.date[1]=0XFF;
                  black_line_date.date[2]=11;
                  black_line_date.date[3]=0;
                  xQueueSend(black_line_Queue,&black_line_date,0);

              }
              else
              {
                  black_line_date.date[0]=x;
                  black_line_date.date[1]=y;
                  black_line_date.date[2]=11;
                  black_line_date.date[3]=0;
                  xQueueSend(black_line_Queue,&black_line_date,0);

              }
          }

        HAL_UART_Receive_DMA(&huart6, usart_6_date, 22);
    }
    osDelay(10);
  }
  /* USER CODE END usart_Task */
}

void servo_Task(void const * argument)
{
  /* USER CODE BEGIN servo_Task */
  /* Infinite loop */
    uint16_t time = 0,time_use, i = 0;
    int16_t angle[6];
    static servo_status servo;
  for (;;)
  {
    xQueueReceive( servo_Queue,&servo,portMAX_DELAY);
    if (servo.time == 0)
        time = 1000;
    else
        time = servo.time;
    time_use = time / 100;
    if(servo.value_goal[0]!=0)
    {
        vTaskSuspendAll();
        servo.value_goal[0] = servo.value_goal[0]>1520?1520:servo.value_goal[0];
        angle[0] = ((int)((int)servo.value_goal[0] - PWM1) / 100);
        angle[1] = ((int)((int)servo.value_goal[1] - PWM2) / 100);
        angle[2] = ((int)((int)servo.value_goal[2] - PWM3) / 100);
        angle[3] = ((int)((int)servo.value_goal[3] - PWM4) / 100);
        angle[4] = ((int)((int)servo.value_goal[4] - PWM5) / 100);
        angle[5] = ((int)((int)servo.value_goal[5] - PWM6) / 100);
        xTaskResumeAll();
        for(i=0;i<100;i++)
        {
            vTaskSuspendAll();
            PWM1  += angle[0] ;
            PWM2  += angle[1] ;
            PWM3  += angle[2] ;
            PWM4  += angle[3] ;
            PWM5  += angle[4] ;
            PWM6  += angle[5] ;
            xTaskResumeAll();
            osDelay(time_use);
        }
        vTaskSuspendAll();
        PWM1 = servo.value_goal[0]>1520?1520:servo.value_goal[0];
        PWM2 = servo.value_goal[1];
        PWM3 = servo.value_goal[2];
        PWM4 = servo.value_goal[3];
        PWM5 = servo.value_goal[4];
        PWM6 = servo.value_goal[5];
        xTaskResumeAll();
        xSemaphoreGive(Servo_Sem_Handle);
    }
    osDelay(10);

  }
  /* USER CODE END servo_Task */
}

void speed_Task(void const * argument)
{
  /* USER CODE BEGIN speed_Task */
  /* Infinite loop */
   biu speed;
   static biu distance={0,0,0,0};
   uint8_t i=0;
  for (;;)
  {

    vTaskSuspendAll();
    speed.date[0] =  6720 - TIM2->CNT;
    TIM2->CNT = 6720;

    speed.date[1] = TIM3->CNT - 6720;
    TIM3->CNT = 6720;

    speed.date[2] =  6720 - TIM4->CNT;
    TIM4->CNT = 6720;

    speed.date[3] = TIM5->CNT - 6720;
    TIM5->CNT = 6720;
    for(i=0;i<4;i++)
    {
        distance.date[i]+=speed.date[i];
    }
    xTaskResumeAll();
    xQueueSend( Speed_Queue,&speed,0 );        /* 等待时间 0 */
    xQueueSend( distance_Queue,&distance,0 );
    osDelay(10);
  }
  /* USER CODE END speed_Task */
}

void pid_Task(void const * argument)
{
  /* USER CODE BEGIN pid_Task */
  /* Infinite loop */
    biu speed_goal;
    biu speed_now;

  for (;;)
  {
    xQueueReceive( Speed_Queue,    /* 消息队列的句柄 */
                                 &speed_now,      /* 发送的消息内容 */
                                 5); /* 等待时间 一直等 */
    xQueueReceive( goal_Queue,    /* 消息队列的句柄 */
                                 &speed_goal,      /* 发送的消息内容 */
                                 5); /* 等待时间 一直等 */

    taskENTER_CRITICAL();

    pid_do(speed_goal,speed_now);

    taskEXIT_CRITICAL();

    osDelay(10);
  }
  /* USER CODE END pid_Task */
}

void doing_Task(void const * argument)
{
  /* USER CODE BEGIN doing_Task */
  /* Infinite loop */
    imu imu_date;
    biu distance_now;

    static int back_sign=0;
    static int16_t distance_use=0;

    static uint8_t Task_select=Start;//执行调度参数

  for (;;)
  {
      xQueueReceive( angle_Queue, &imu_date, portMAX_DELAY); /* 等待时间 一直等 */
      xQueueReceive( distance_Queue,&distance_now, 0); /* 等待时间 一直等 */

      switch(Task_select)
      {
          case Start:
              osDelay(10);
          break;

          default:
              osDelay(10);
          break;
      }
      osDelay(10);
  }
  /* USER CODE END doing_Task */
}
